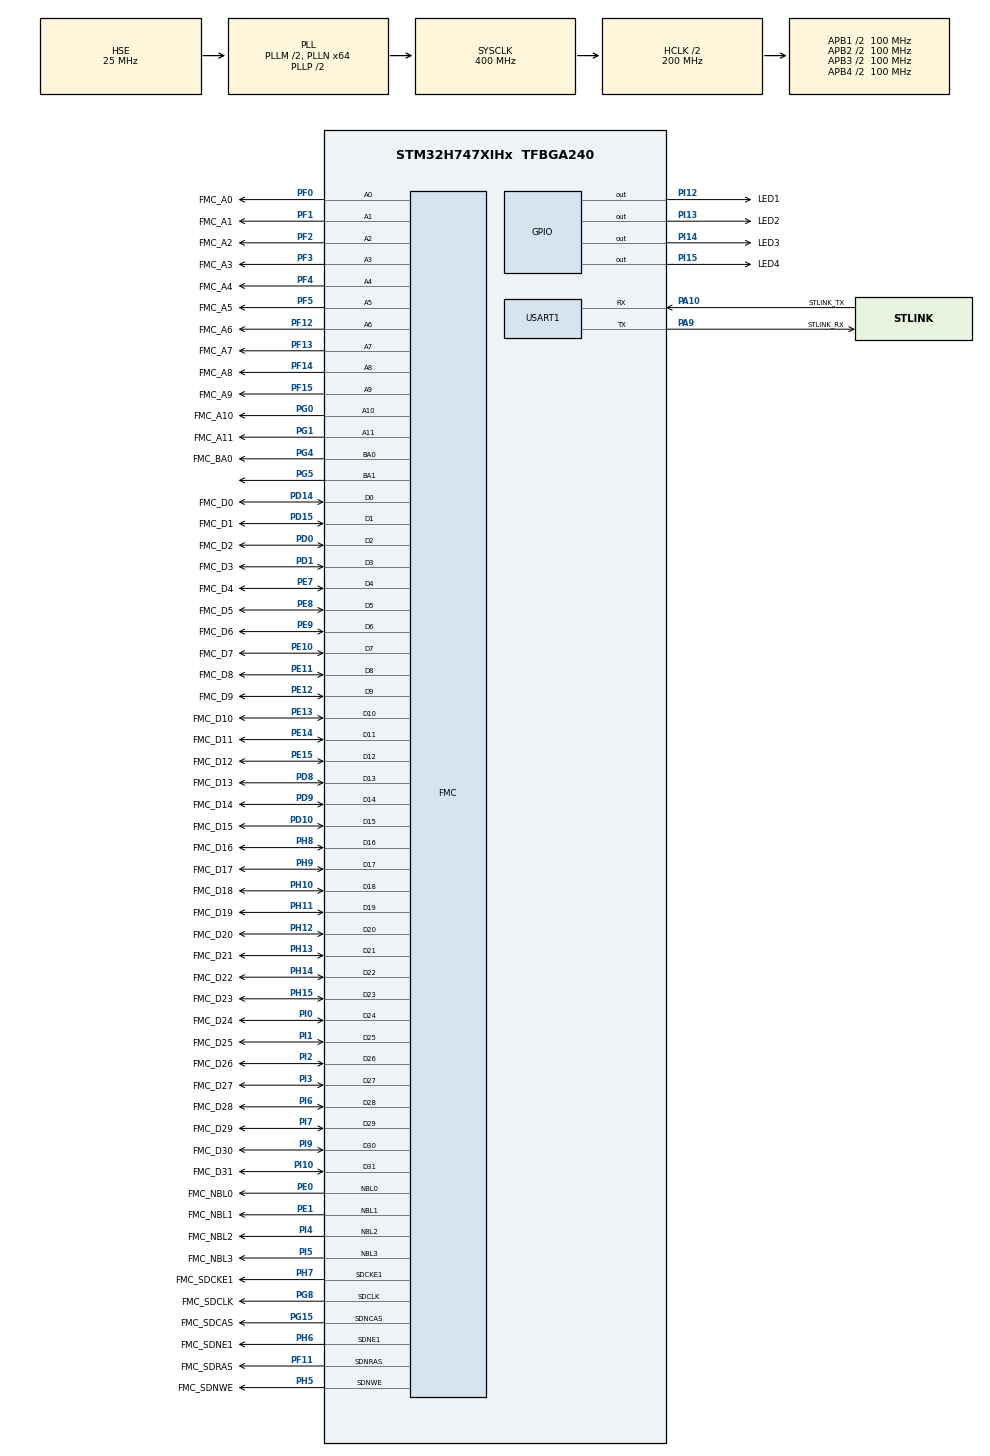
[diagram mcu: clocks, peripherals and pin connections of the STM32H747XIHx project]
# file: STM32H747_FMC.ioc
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CortexM4.IPs=BDMA,DMA,FATFS_M4\:I,FREERTOS_M4\:I,IWDG2\:I,MDMA,NVIC2\:I,RCC,USB_DEVICE_M4\:I,USB_HOST_M4\:I,WWDG2\:I,PDM2PCM_M4\:I,PWR,RESMGR_UTILITY,SYS_M4\:I,CORTEX_M4\:I,OPENAMP_M4\:I,VREFBUF,GPIO
CortexM7.IPs=BDMA\:I,DMA\:I,FATFS_M7\:I,FREERTOS_M7\:I,IWDG1\:I,MDMA\:I,NVIC1\:I,RCC\:I,USB_DEVICE_M7\:I,USB_HOST_M7\:I,WWDG1\:I,USART1\:I,CORTEX_M7\:I,DEBUG\:I,PDM2PCM_M7\:I,PWR\:I,RESMGR_UTILITY\:I,SYS\:I,OPENAMP_M7\:I,VREFBUF\:I,GPIO\:I,FMC\:I
CortexM7.Pins=PI12,PI13,PI14,PI15
FMC.CASLatency1=FMC_SDRAM_CAS_LATENCY_3
FMC.ColumnBitsNumber1=FMC_SDRAM_COLUMN_BITS_NUM_9
FMC.ExitSelfRefreshDelay1=7
FMC.LoadToActiveDelay1=2
FMC.RCDDelay1=2
FMC.RPDelay1=2
FMC.RPDelay2=2
FMC.ReadBurst1=FMC_SDRAM_RBURST_ENABLE
FMC.ReadBurst2=FMC_SDRAM_RBURST_ENABLE
FMC.RowCycleDelay1=6
FMC.RowCycleDelay2=6
FMC.SDClockPeriod1=FMC_SDRAM_CLOCK_PERIOD_2
FMC.SelfRefreshTime1=4
FMC.WriteProtection1=FMC_SDRAM_WRITE_PROTECTION_DISABLE
FMC.WriteRecoveryTime1=2
Mcu.Family=STM32H7
Mcu.Name=STM32H747XIHx
Mcu.Package=TFBGA240
NVIC1.PriorityGroup=NVIC_PRIORITYGROUP_4
NVIC2.PriorityGroup=NVIC_PRIORITYGROUP_4
PA10.GPIO_Label=STLINK_TX
PA10.Mode=Asynchronous
PA10.PinAttribute=CortexM7
PA10.Signal=USART1_RX
PA13\ (JTMS/SWDIO).Mode=Serial_Wire
PA13\ (JTMS/SWDIO).PinAttribute=CortexM7
PA13\ (JTMS/SWDIO).Signal=DEBUG_JTMS-SWDIO
PA14\ (JTCK/SWCLK).Mode=Serial_Wire
PA14\ (JTCK/SWCLK).PinAttribute=CortexM7
PA14\ (JTCK/SWCLK).Signal=DEBUG_JTCK-SWCLK
PA9.GPIO_Label=STLINK_RX
PA9.Mode=Asynchronous
PA9.PinAttribute=CortexM7
PA9.Signal=USART1_TX
PC14-OSC32_IN\ (OSC32_IN).GPIO_Label=OSC32_IN
PC14-OSC32_IN\ (OSC32_IN).Mode=LSE-External-Oscillator
PC14-OSC32_IN\ (OSC32_IN).PinAttribute=CortexM7
PC14-OSC32_IN\ (OSC32_IN).Signal=RCC_OSC32_IN
PC15-OSC32_OUT\ (OSC32_OUT).GPIO_Label=OSC32_OUT
PC15-OSC32_OUT\ (OSC32_OUT).Mode=LSE-External-Oscillator
PC15-OSC32_OUT\ (OSC32_OUT).PinAttribute=CortexM7
PC15-OSC32_OUT\ (OSC32_OUT).Signal=RCC_OSC32_OUT
PD0.GPIO_Label=FMC_D2
PD0.PinAttribute=CortexM7
PD0.Signal=FMC_D2_DA2
PD1.GPIO_Label=FMC_D3
PD1.PinAttribute=CortexM7
PD1.Signal=FMC_D3_DA3
PD10.GPIO_Label=FMC_D15
PD10.PinAttribute=CortexM7
PD10.Signal=FMC_D15_DA15
PD14.GPIO_Label=FMC_D0
PD14.PinAttribute=CortexM7
PD14.Signal=FMC_D0_DA0
PD15.GPIO_Label=FMC_D1
PD15.PinAttribute=CortexM7
PD15.Signal=FMC_D1_DA1
PD8.GPIO_Label=FMC_D13
PD8.PinAttribute=CortexM7
PD8.Signal=FMC_D13_DA13
PD9.GPIO_Label=FMC_D14
PD9.PinAttribute=CortexM7
PD9.Signal=FMC_D14_DA14
PE0.GPIO_Label=FMC_NBL0
PE0.PinAttribute=CortexM7
PE0.Signal=FMC_NBL0
PE1.GPIO_Label=FMC_NBL1
PE1.PinAttribute=CortexM7
PE1.Signal=FMC_NBL1
PE10.GPIO_Label=FMC_D7
PE10.PinAttribute=CortexM7
PE10.Signal=FMC_D7_DA7
PE11.GPIO_Label=FMC_D8
PE11.PinAttribute=CortexM7
PE11.Signal=FMC_D8_DA8
PE12.GPIO_Label=FMC_D9
PE12.PinAttribute=CortexM7
PE12.Signal=FMC_D9_DA9
PE13.GPIO_Label=FMC_D10
PE13.PinAttribute=CortexM7
PE13.Signal=FMC_D10_DA10
PE14.GPIO_Label=FMC_D11
PE14.PinAttribute=CortexM7
PE14.Signal=FMC_D11_DA11
PE15.GPIO_Label=FMC_D12
PE15.PinAttribute=CortexM7
PE15.Signal=FMC_D12_DA12
PE7.GPIO_Label=FMC_D4
PE7.PinAttribute=CortexM7
PE7.Signal=FMC_D4_DA4
PE8.GPIO_Label=FMC_D5
PE8.PinAttribute=CortexM7
PE8.Signal=FMC_D5_DA5
PE9.GPIO_Label=FMC_D6
PE9.PinAttribute=CortexM7
PE9.Signal=FMC_D6_DA6
PF0.GPIO_Label=FMC_A0
PF0.PinAttribute=CortexM7
PF0.Signal=FMC_A0
PF1.GPIO_Label=FMC_A1
PF1.PinAttribute=CortexM7
PF1.Signal=FMC_A1
PF11.GPIO_Label=FMC_SDRAS
PF11.PinAttribute=CortexM7
PF11.Signal=FMC_SDNRAS
PF12.GPIO_Label=FMC_A6
PF12.PinAttribute=CortexM7
PF12.Signal=FMC_A6
PF13.GPIO_Label=FMC_A7
PF13.PinAttribute=CortexM7
PF13.Signal=FMC_A7
PF14.GPIO_Label=FMC_A8
PF14.PinAttribute=CortexM7
PF14.Signal=FMC_A8
PF15.GPIO_Label=FMC_A9
PF15.PinAttribute=CortexM7
PF15.Signal=FMC_A9
PF2.GPIO_Label=FMC_A2
PF2.PinAttribute=CortexM7
PF2.Signal=FMC_A2
PF3.GPIO_Label=FMC_A3
PF3.PinAttribute=CortexM7
PF3.Signal=FMC_A3
PF4.GPIO_Label=FMC_A4
PF4.PinAttribute=CortexM7
PF4.Signal=FMC_A4
PF5.GPIO_Label=FMC_A5
PF5.PinAttribute=CortexM7
PF5.Signal=FMC_A5
PG0.GPIO_Label=FMC_A10
PG0.PinAttribute=CortexM7
PG0.Signal=FMC_A10
PG1.GPIO_Label=FMC_A11
PG1.PinAttribute=CortexM7
PG1.Signal=FMC_A11
PG15.GPIO_Label=FMC_SDCAS
PG15.PinAttribute=CortexM7
PG15.Signal=FMC_SDNCAS
PG2.GPIO_Label=FMC_A12
PG2.PinAttribute=CortexM7
PG2.Signal=FMC_A12
PG4.GPIO_Label=FMC_BA0
PG4.PinAttribute=CortexM7
PG4.Signal=FMC_A14_BA0
PG5.PinAttribute=CortexM7
PG5.Signal=FMC_A15_BA1
PG8.GPIO_Label=FMC_SDCLK
PG8.PinAttribute=CortexM7
PG8.Signal=FMC_SDCLK
PH0-OSC_IN\ (PH0).GPIO_Label=OSC_IN
PH0-OSC_IN\ (PH0).Mode=HSE-External-Oscillator
PH0-OSC_IN\ (PH0).PinAttribute=CortexM7
PH0-OSC_IN\ (PH0).Signal=RCC_OSC_IN
PH1-OSC_OUT\ (PH1).GPIO_Label=OSC_OUT
PH1-OSC_OUT\ (PH1).Mode=HSE-External-Oscillator
PH1-OSC_OUT\ (PH1).PinAttribute=CortexM7
PH1-OSC_OUT\ (PH1).Signal=RCC_OSC_OUT
PH10.GPIO_Label=FMC_D18
PH10.PinAttribute=CortexM7
PH10.Signal=FMC_D18
PH11.GPIO_Label=FMC_D19
PH11.PinAttribute=CortexM7
PH11.Signal=FMC_D19
PH12.GPIO_Label=FMC_D20
PH12.PinAttribute=CortexM7
PH12.Signal=FMC_D20
PH13.GPIO_Label=FMC_D21
PH13.PinAttribute=CortexM7
PH13.Signal=FMC_D21
PH14.GPIO_Label=FMC_D22
PH14.PinAttribute=CortexM7
PH14.Signal=FMC_D22
PH15.GPIO_Label=FMC_D23
PH15.PinAttribute=CortexM7
PH15.Signal=FMC_D23
PH5.GPIO_Label=FMC_SDNWE
PH5.PinAttribute=CortexM7
PH5.Signal=FMC_SDNWE
PH6.GPIO_Label=FMC_SDNE1
PH6.Mode=SdramChipSelect2_1
PH6.PinAttribute=CortexM7
PH6.Signal=FMC_SDNE1
PH7.GPIO_Label=FMC_SDCKE1
PH7.Mode=SdramChipSelect2_1
PH7.PinAttribute=CortexM7
PH7.Signal=FMC_SDCKE1
PH8.GPIO_Label=FMC_D16
PH8.PinAttribute=CortexM7
PH8.Signal=FMC_D16
PH9.GPIO_Label=FMC_D17
PH9.PinAttribute=CortexM7
PH9.Signal=FMC_D17
PI0.GPIO_Label=FMC_D24
PI0.PinAttribute=CortexM7
PI0.Signal=FMC_D24
PI1.GPIO_Label=FMC_D25
PI1.PinAttribute=CortexM7
PI1.Signal=FMC_D25
PI10.GPIO_Label=FMC_D31
PI10.PinAttribute=CortexM7
PI10.Signal=FMC_D31
PI12.GPIO_Label=LED1
PI12.PinAttribute=CortexM7
PI12.PinState=GPIO_PIN_SET
PI12.Signal=GPIO_Output
PI13.GPIO_Label=LED2
PI13.PinAttribute=CortexM7
PI13.PinState=GPIO_PIN_SET
PI13.Signal=GPIO_Output
PI14.GPIO_Label=LED3
PI14.PinAttribute=CortexM7
PI14.PinState=GPIO_PIN_SET
PI14.Signal=GPIO_Output
PI15.GPIO_Label=LED4
PI15.PinAttribute=CortexM7
PI15.PinState=GPIO_PIN_SET
PI15.Signal=GPIO_Output
PI2.GPIO_Label=FMC_D26
PI2.PinAttribute=CortexM7
PI2.Signal=FMC_D26
PI3.GPIO_Label=FMC_D27
PI3.PinAttribute=CortexM7
PI3.Signal=FMC_D27
PI4.GPIO_Label=FMC_NBL2
PI4.PinAttribute=CortexM7
PI4.Signal=FMC_NBL2
PI5.GPIO_Label=FMC_NBL3
PI5.PinAttribute=CortexM7
PI5.Signal=FMC_NBL3
PI6.GPIO_Label=FMC_D28
PI6.PinAttribute=CortexM7
PI6.Signal=FMC_D28
PI7.GPIO_Label=FMC_D29
PI7.PinAttribute=CortexM7
PI7.Signal=FMC_D29
PI9.GPIO_Label=FMC_D30
PI9.PinAttribute=CortexM7
PI9.Signal=FMC_D30
ProjectManager.HeapSize=M4-0x200,M7-0x200
ProjectManager.StackSize=M4-0x400,M7-0x1000
ProjectManager.TargetToolchain=STM32CubeIDE
RCC.ADCFreq_Value=75000000
RCC.APB1Freq_Value=100000000
RCC.APB2Freq_Value=100000000
RCC.APB3Freq_Value=100000000
RCC.APB4Freq_Value=100000000
RCC.CortexFreq_Value=400000000
RCC.D1PPRE=RCC_APB3_DIV2
RCC.D2PPRE1=RCC_APB1_DIV2
RCC.D2PPRE2=RCC_APB2_DIV2
RCC.D3PPRE=RCC_APB4_DIV2
RCC.DIVM1=2
RCC.DIVM2=2
RCC.DIVN1=64
RCC.DIVN2=12
RCC.DIVQ1=13
RCC.HCLKFreq_Value=200000000
RCC.HPRE=RCC_HCLK_DIV2
RCC.PLL2FRACN=0
RCC.PLL2_VCI_Range-AdvancedSettings=RCC_PLL2VCIRANGE_1
RCC.PLL3FRACN=0
RCC.PLLFRACN=0
RCC.PLLSourceVirtual=RCC_PLLSOURCE_HSE
RCC.PWR_Regulator_Voltage_Scale=PWR_REGULATOR_VOLTAGE_SCALE1
RCC.SYSCLKFreq_VALUE=400000000
RCC.SYSCLKSource=RCC_SYSCLKSOURCE_PLLCLK
RCC.SupplySource=PWR_DIRECT_SMPS_SUPPLY
RCC.USBFreq_Value=61538461.538461536
SH.FMC_A0.0=FMC_A0,12b-sda1
SH.FMC_A1.0=FMC_A1,12b-sda1
SH.FMC_A10.0=FMC_A10,12b-sda1
SH.FMC_A11.0=FMC_A11,12b-sda1
SH.FMC_A12.0=FMC_A12
SH.FMC_A14_BA0.0=FMC_BA0,FourSdramBanks1
SH.FMC_A15_BA1.0=FMC_BA1,FourSdramBanks1
SH.FMC_A2.0=FMC_A2,12b-sda1
SH.FMC_A3.0=FMC_A3,12b-sda1
SH.FMC_A4.0=FMC_A4,12b-sda1
SH.FMC_A5.0=FMC_A5,12b-sda1
SH.FMC_A6.0=FMC_A6,12b-sda1
SH.FMC_A7.0=FMC_A7,12b-sda1
SH.FMC_A8.0=FMC_A8,12b-sda1
SH.FMC_A9.0=FMC_A9,12b-sda1
SH.FMC_D0_DA0.0=FMC_D0,sd-32b-d1
SH.FMC_D10_DA10.0=FMC_D10,sd-32b-d1
SH.FMC_D11_DA11.0=FMC_D11,sd-32b-d1
SH.FMC_D12_DA12.0=FMC_D12,sd-32b-d1
SH.FMC_D13_DA13.0=FMC_D13,sd-32b-d1
SH.FMC_D14_DA14.0=FMC_D14,sd-32b-d1
SH.FMC_D15_DA15.0=FMC_D15,sd-32b-d1
SH.FMC_D16.0=FMC_D16,sd-32b-d1
SH.FMC_D17.0=FMC_D17,sd-32b-d1
SH.FMC_D18.0=FMC_D18,sd-32b-d1
SH.FMC_D19.0=FMC_D19,sd-32b-d1
SH.FMC_D1_DA1.0=FMC_D1,sd-32b-d1
SH.FMC_D20.0=FMC_D20,sd-32b-d1
SH.FMC_D21.0=FMC_D21,sd-32b-d1
SH.FMC_D22.0=FMC_D22,sd-32b-d1
SH.FMC_D23.0=FMC_D23,sd-32b-d1
SH.FMC_D24.0=FMC_D24,sd-32b-d1
SH.FMC_D25.0=FMC_D25,sd-32b-d1
SH.FMC_D26.0=FMC_D26,sd-32b-d1
SH.FMC_D27.0=FMC_D27,sd-32b-d1
SH.FMC_D28.0=FMC_D28,sd-32b-d1
SH.FMC_D29.0=FMC_D29,sd-32b-d1
SH.FMC_D2_DA2.0=FMC_D2,sd-32b-d1
SH.FMC_D30.0=FMC_D30,sd-32b-d1
SH.FMC_D31.0=FMC_D31,sd-32b-d1
SH.FMC_D3_DA3.0=FMC_D3,sd-32b-d1
SH.FMC_D4_DA4.0=FMC_D4,sd-32b-d1
SH.FMC_D5_DA5.0=FMC_D5,sd-32b-d1
SH.FMC_D6_DA6.0=FMC_D6,sd-32b-d1
SH.FMC_D7_DA7.0=FMC_D7,sd-32b-d1
SH.FMC_D8_DA8.0=FMC_D8,sd-32b-d1
SH.FMC_D9_DA9.0=FMC_D9,sd-32b-d1
SH.FMC_NBL0.0=FMC_NBL0,Sd4ByteEnable1
SH.FMC_NBL1.0=FMC_NBL1,Sd4ByteEnable1
SH.FMC_NBL2.0=FMC_NBL2,Sd4ByteEnable1
SH.FMC_NBL3.0=FMC_NBL3,Sd4ByteEnable1
SH.FMC_SDCLK.0=FMC_SDCLK,12b-sda1
SH.FMC_SDNCAS.0=FMC_SDNCAS,12b-sda1
SH.FMC_SDNRAS.0=FMC_SDNRAS,12b-sda1
SH.FMC_SDNWE.0=FMC_SDNWE,12b-sda1
USART1.VirtualMode-Asynchronous=VM_ASYNC
VP_SYS_M4_VS_Systick.Mode=SysTick
board=STM32H747I-DISCO

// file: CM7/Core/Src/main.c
/* USER CODE BEGIN Header */
/**
  ******************************************************************************
  * @file           : main.c
  * @brief          : Main program body
  ******************************************************************************
  * @attention
  *
  * Copyright (c) 2025 STMicroelectronics.
  * All rights reserved.
  *
  * This software is licensed under terms that can be found in the LICENSE file
  * in the root directory of this software component.
  * If no LICENSE file comes with this software, it is provided AS-IS.
  *
  ******************************************************************************
  */
/* USER CODE END Header */
#include "main.h"
#include "usart.h"
#include "gpio.h"
#include "fmc.h"

/* USER CODE BEGIN Includes */
#include <string.h>
/* USER CODE END Includes */

/* USER CODE BEGIN PD */

/* DUAL_CORE_BOOT_SYNC_SEQUENCE: Define for dual core boot synchronization    */
/*                             demonstration code based on hardware semaphore */
/* This define is present in both CM7/CM4 projects                            */
/* To comment when developping/debugging on a single core                     */
#define DUAL_CORE_BOOT_SYNC_SEQUENCE

#if defined(DUAL_CORE_BOOT_SYNC_SEQUENCE)
#ifndef HSEM_ID_0
#define HSEM_ID_0 (0U) /* HW semaphore 0*/
#endif
#endif /* DUAL_CORE_BOOT_SYNC_SEQUENCE */

/* USER CODE END PD */

/* USER CODE BEGIN PV */
#define SDRAM_TEST_SIZE 1000
__attribute__((section(".sdram_data"))) uint32_t my_sdram_data[SDRAM_TEST_SIZE];
/* USER CODE END PV */

void SystemClock_Config(void);

/* USER CODE BEGIN 0 */

void SDRAM_Init_Sequence(SDRAM_HandleTypeDef *hsdram)
{
  FMC_SDRAM_CommandTypeDef Command;
  uint32_t mode_reg_value;

  // Step 1: 클럭 활성화 (Clock Enable)
  Command.CommandMode = FMC_SDRAM_CMD_CLK_ENABLE;
  Command.CommandTarget = FMC_SDRAM_CMD_TARGET_BANK2;
  Command.AutoRefreshNumber = 1;
  Command.ModeRegisterDefinition = 0;

  HAL_SDRAM_SendCommand(hsdram, &Command, HAL_MAX_DELAY);

  HAL_Delay(1); // 1ms 딜레이

  // Step 2: Precharge All
  Command.CommandMode = FMC_SDRAM_CMD_PALL;
  Command.CommandTarget = FMC_SDRAM_CMD_TARGET_BANK2;
  HAL_SDRAM_SendCommand(hsdram, &Command, HAL_MAX_DELAY);

  // Step 3: Auto-Refresh
  Command.CommandMode = FMC_SDRAM_CMD_AUTOREFRESH_MODE;
  Command.CommandTarget = FMC_SDRAM_CMD_TARGET_BANK2;
  Command.AutoRefreshNumber = 8;
  HAL_SDRAM_SendCommand(hsdram, &Command, HAL_MAX_DELAY);

  // Step 4: Mode Register
  mode_reg_value = (uint32_t)(
      (0x0000) | // Burst Length: 1 (A0-A2=000)
      (0x0000) | // Burst Type: Sequential (A3=0)
      (0x0030) | // CAS Latency: 3 (A4-A6=011)
      (0x0000) | // Operating Mode: Standard (A7-A8=00)
      (0x0200)   // Write Burst Mode: Single (A9=1)
  );

  Command.CommandMode = FMC_SDRAM_CMD_LOAD_MODE;
  Command.CommandTarget = FMC_SDRAM_CMD_TARGET_BANK2;
  Command.ModeRegisterDefinition = mode_reg_value;
  HAL_SDRAM_SendCommand(hsdram, &Command, HAL_MAX_DELAY);

  // Step 5: Refresh Rate
  // 64ms / 4096 = 15.625us, 15.625/0.01 = 1563
  HAL_SDRAM_ProgramRefreshRate(hsdram, 1563);
}

/* USER CODE END 0 */

int main(void)
{

/* USER CODE BEGIN Boot_Mode_Sequence_0 */
#if defined(DUAL_CORE_BOOT_SYNC_SEQUENCE)
  int32_t timeout;
#endif /* DUAL_CORE_BOOT_SYNC_SEQUENCE */
/* USER CODE END Boot_Mode_Sequence_0 */

/* USER CODE BEGIN Boot_Mode_Sequence_1 */
#if defined(DUAL_CORE_BOOT_SYNC_SEQUENCE)
  /* Wait until CPU2 boots and enters in stop mode or timeout*/
  timeout = 0xFFFF;
  while((__HAL_RCC_GET_FLAG(RCC_FLAG_D2CKRDY) != RESET) && (timeout-- > 0));
  if ( timeout < 0 )
  {
  Error_Handler();
  }
#endif /* DUAL_CORE_BOOT_SYNC_SEQUENCE */
/* USER CODE END Boot_Mode_Sequence_1 */
  /* MCU Configuration--------------------------------------------------------*/

  /* Reset of all peripherals, Initializes the Flash interface and the Systick. */
  HAL_Init();

  /* Configure the system clock */
  SystemClock_Config();
/* USER CODE BEGIN Boot_Mode_Sequence_2 */
#if defined(DUAL_CORE_BOOT_SYNC_SEQUENCE)
/* When system initialization is finished, Cortex-M7 will release Cortex-M4 by means of
HSEM notification */
/*HW semaphore Clock enable*/
__HAL_RCC_HSEM_CLK_ENABLE();
/*Take HSEM */
HAL_HSEM_FastTake(HSEM_ID_0);
/*Release HSEM in order to notify the CPU2(CM4)*/
HAL_HSEM_Release(HSEM_ID_0,0);
/* wait until CPU2 wakes up from stop mode */
timeout = 0xFFFF;
while((__HAL_RCC_GET_FLAG(RCC_FLAG_D2CKRDY) == RESET) && (timeout-- > 0));
if ( timeout < 0 )
{
Error_Handler();
}
#endif /* DUAL_CORE_BOOT_SYNC_SEQUENCE */
/* USER CODE END Boot_Mode_Sequence_2 */

  /* Initialize all configured peripherals */
  MX_GPIO_Init();
  MX_FMC_Init();
  MX_USART1_UART_Init();
  /* USER CODE BEGIN 2 */
  SDRAM_Init_Sequence(&hsdram1);

  uint32_t read_buffer[SDRAM_TEST_SIZE];
  uint8_t test_result = 1;

  memset(my_sdram_data, 0, SDRAM_TEST_SIZE * sizeof(my_sdram_data[0]));

  // 1. SDRAM에 데이터 쓰기: my_sdram_data 배열에 직접 접근하여 데이터 저장
  for (uint32_t i = 0; i < SDRAM_TEST_SIZE; i++) {
    my_sdram_data[i] = i;
  }

  // 2. SDRAM에서 데이터 읽기: my_sdram_data 배열에서 값을 읽어와 read_buffer에 복사
  for (uint32_t i = 0; i < SDRAM_TEST_SIZE; i++) {
    read_buffer[i] = my_sdram_data[i];
  }

  // 3. 데이터 검증
  for (uint32_t i = 0; i < SDRAM_TEST_SIZE; i++) {
    if (read_buffer[i] != i) {
      test_result = 0;
      break; // 오류가 발생하면 루프 종료
    }
  }

  // 4. 결과 표시
  if (test_result) {
    HAL_GPIO_WritePin(LED1_GPIO_Port, LED1_Pin, GPIO_PIN_RESET);
  } else {
    HAL_GPIO_WritePin(LED3_GPIO_Port, LED3_Pin, GPIO_PIN_RESET);
  }

  /* USER CODE END 2 */

  /* Infinite loop */
  while (1)
  {

  }
}

void SystemClock_Config(void)
{
  RCC_OscInitTypeDef RCC_OscInitStruct = {0};
  RCC_ClkInitTypeDef RCC_ClkInitStruct = {0};

  /** Supply configuration update enable
  */
  HAL_PWREx_ConfigSupply(PWR_DIRECT_SMPS_SUPPLY);

  /** Configure the main internal regulator output voltage
  */
  __HAL_PWR_VOLTAGESCALING_CONFIG(PWR_REGULATOR_VOLTAGE_SCALE1);

  while(!__HAL_PWR_GET_FLAG(PWR_FLAG_VOSRDY)) {}

  /** Initializes the RCC Oscillators according to the specified parameters
  * in the RCC_OscInitTypeDef structure.
  */
  RCC_OscInitStruct.OscillatorType = RCC_OSCILLATORTYPE_HSE;
  RCC_OscInitStruct.HSEState = RCC_HSE_ON;
  RCC_OscInitStruct.PLL.PLLState = RCC_PLL_ON;
  RCC_OscInitStruct.PLL.PLLSource = RCC_PLLSOURCE_HSE;
  RCC_OscInitStruct.PLL.PLLM = 2;
  RCC_OscInitStruct.PLL.PLLN = 64;
  RCC_OscInitStruct.PLL.PLLP = 2;
  RCC_OscInitStruct.PLL.PLLQ = 13;
  RCC_OscInitStruct.PLL.PLLR = 2;
  RCC_OscInitStruct.PLL.PLLRGE = RCC_PLL1VCIRANGE_3;
  RCC_OscInitStruct.PLL.PLLVCOSEL = RCC_PLL1VCOWIDE;
  RCC_OscInitStruct.PLL.PLLFRACN = 0;
  if (HAL_RCC_OscConfig(&RCC_OscInitStruct) != HAL_OK)
  {
    Error_Handler();
  }

  /** Initializes the CPU, AHB and APB buses clocks
  */
  RCC_ClkInitStruct.ClockType = RCC_CLOCKTYPE_HCLK|RCC_CLOCKTYPE_SYSCLK
                              |RCC_CLOCKTYPE_PCLK1|RCC_CLOCKTYPE_PCLK2
                              |RCC_CLOCKTYPE_D3PCLK1|RCC_CLOCKTYPE_D1PCLK1;
  RCC_ClkInitStruct.SYSCLKSource = RCC_SYSCLKSOURCE_PLLCLK;
  RCC_ClkInitStruct.SYSCLKDivider = RCC_SYSCLK_DIV1;
  RCC_ClkInitStruct.AHBCLKDivider = RCC_HCLK_DIV2;
  RCC_ClkInitStruct.APB3CLKDivider = RCC_APB3_DIV2;
  RCC_ClkInitStruct.APB1CLKDivider = RCC_APB1_DIV2;
  RCC_ClkInitStruct.APB2CLKDivider = RCC_APB2_DIV2;
  RCC_ClkInitStruct.APB4CLKDivider = RCC_APB4_DIV2;

  if (HAL_RCC_ClockConfig(&RCC_ClkInitStruct, FLASH_LATENCY_2) != HAL_OK)
  {
    Error_Handler();
  }
}

void Error_Handler(void)
{
  __disable_irq();
  while (1)
  {
  }
}
